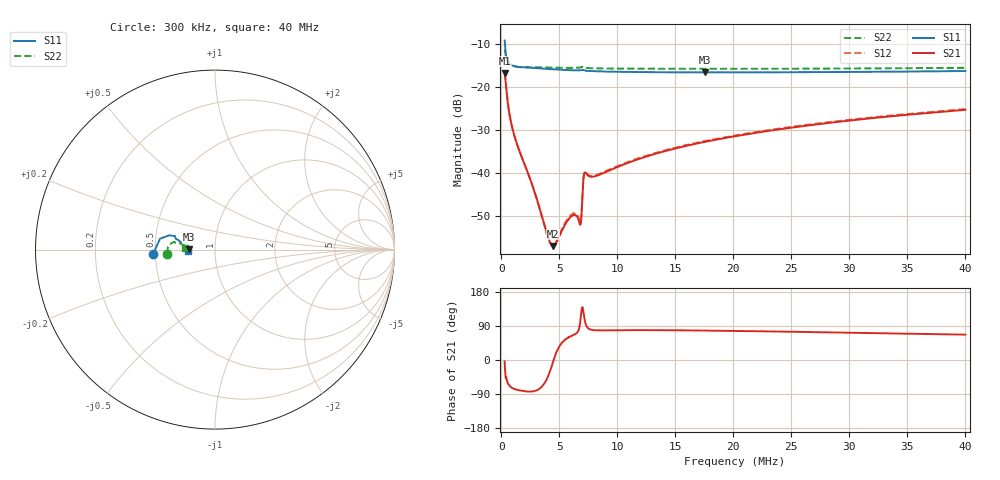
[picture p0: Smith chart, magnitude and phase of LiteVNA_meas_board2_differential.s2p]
! Differential S-parameters generated from single-ended measurements
# Hz S RI R 100
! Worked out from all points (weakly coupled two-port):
!   1206 points, 300 kHz to 40 MHz, reference 100 ohm
!   highest |S21| = -16.76 dB at 300 kHz (marker M1); lowest = -56.9 dB at 4.484 MHz (marker M2)
!   lowest |S11| = -16.7 dB at 17.53 MHz (marker M3), VSWR 1.34, Z = 74.4 + j0.219 ohm
!   |S11| at or under -10 dB: 329 kHz to end of sweep
!   |S22| runs from -15.8 to -11.4 dB; largest |S21 - S12| = 0.011
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300000  -0.3438 -0.0234  0.1449 -0.0087  0.1453 -0.0086  -0.2673 -0.0237
629460  -0.1859 0.037  0.0252 -0.0511  0.0253 -0.0514  -0.1887 0.0313
860082  -0.1768 0.0281  0.0118 -0.0363  0.0119 -0.0365  -0.1772 0.0239
1156596  -0.1717 0.0225  0.00615 -0.0259  0.00616 -0.026  -0.1715 0.0178
2803896  -0.1652 0.0158  0.000853 -0.00648  0.000866 -0.00645  -0.1687 0.00802
4055844  -0.1604 0.0155  0.00132 -0.00121  0.00133 -0.00114  -0.1672 0.00784
4484142  -0.159 0.0151  0.00143 -8.77e-05  0.00143 -2.44e-06  -0.1668 0.00769
4780656  -0.1582 0.0147  0.00148 0.000597  0.00147 0.000687  -0.1665 0.0075
5933766  -0.1554 0.0119  0.00145 0.00269  0.00144 0.00281  -0.1656 0.00688
6362064  -0.1548 0.0113  0.00121 0.00304  0.00123 0.00317  -0.1657 0.00628
6724470  -0.1549 0.0103  0.000297 0.0027  0.000311 0.00284  -0.1665 0.0051
6823308  -0.1552 0.0101  -0.000518 0.00246  -0.000524 0.0026  -0.1671 0.0047
6922146  -0.1557 0.00969  -0.00208 0.00247  -0.00211 0.00262  -0.1685 0.00336
7152768  -0.1555 0.0126  -0.00411 0.00893  -0.00409 0.00917  -0.1702 0.00981
7317498  -0.153 0.0123  -0.00039 0.00992  -0.000369 0.0102  -0.1663 0.0105
8174094  -0.1509 0.00976  0.00189 0.00905  0.00191 0.00929  -0.1634 0.00778
1.354429e7  -0.1477 0.00412  0.00338 0.0168  0.00352 0.0171  -0.1619 0.00645
1.753076e7  -0.1467 0.00144  0.00491 0.0223  0.00492 0.023  -0.1613 0.00641
2.016644e7  -0.1472 0.000189  0.00619 0.026  0.00652 0.0266  -0.1617 0.0057
2.678858e7  -0.1481 -0.00243  0.0102 0.0347  0.0108 0.0353  -0.1625 0.00696
3.341073e7  -0.1498 -0.00468  0.0153 0.0426  0.0162 0.0433  -0.1638 0.00848
3.999993e7  -0.1523 -0.00683  0.0212 0.0498  0.0224 0.0504  -0.1657 0.00994
